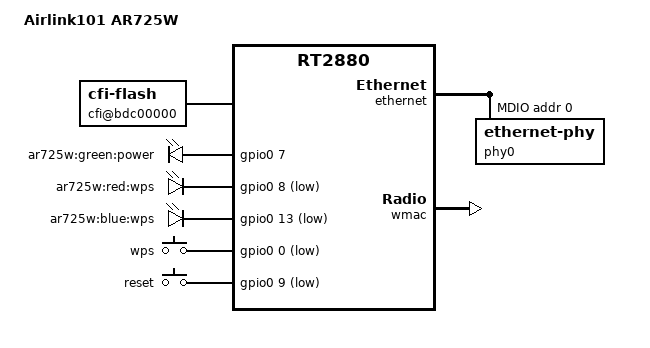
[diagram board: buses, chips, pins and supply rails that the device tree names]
/dts-v1/;

#include "rt2880.dtsi"

/ {
	compatible = "AR725W", "ralink,rt2880-soc";
	model = "Airlink101 AR725W";

	cfi@bdc00000 {
		compatible = "cfi-flash";
		reg = <0xbc400000 0x800000>;
		bank-width = <2>;
		#address-cells = <1>;
		#size-cells = <1>;

		u-boot@0 {
			reg = <0x0 0x30000>;
			label = "u-boot";
			read-only;
		};

		u-boot-env@30000 {
			reg = <0x30000 0x10000>;
			label = "u-boot-env";
		};

		factory: factory@40000 {
			reg = <0x40000 0x10000>;
			label = "factory";
			read-only;
		};

		firmware@50000 {
			reg = <0x50000 0x3B0000>;
			label = "firmware";
		};
	};

	gpio-leds {
		compatible = "gpio-leds";

		status {
			label = "ar725w:green:power";
			gpios = <&gpio0 7 0>;
		};

		wpsred {
			label = "ar725w:red:wps";
			gpios = <&gpio0 8 1>;
		};

		wpsblue {
			label = "ar725w:blue:wps";
			gpios = <&gpio0 13 1>;
		};
	};

	gpio-keys-polled {
		compatible = "gpio-keys-polled";
		#address-cells = <1>;
		#size-cells = <0>;
		poll-interval = <100>;

		wps {
			label = "wps";
			gpios = <&gpio0 0 1>;
			linux,code = <0x211>;
		};

		reset {
			label = "reset";
			gpios = <&gpio0 9 1>;
			linux,code = <0x198>;
		};
	};
};

&gpio0 {
	status = "okay";
};

&pinctrl {
	state_default: pinctrl0 {
		gpio {
			ralink,group = "i2c", "spi", "uartlite";
			ralink,function = "gpio";
		};
	};
};

&ethernet {
	status = "okay";
	mtd-mac-address = <&factory 0x4>;

	port@0 {
		phy-handle = <&phy0>;
		phy-mode = "mii";
	};

	mdio-bus {
		status = "okay";

		phy0: ethernet-phy@0 {
			phy-mode = "mii";
			reg = <0>;
		};
	};
};

&wmac {
	status = "okay";
	ralink,mtd-eeprom = <&factory 0>;
};
